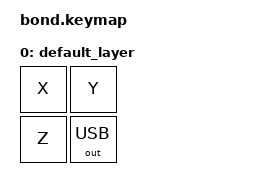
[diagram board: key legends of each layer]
/*
 * Copyright (c) 2022 The ZMK Contributors
 *
 * SPDX-License-Identifier: MIT
 */

#include <behaviors.dtsi>
#include <dt-bindings/zmk/keys.h>
#include <dt-bindings/zmk/bt.h>
#include <dt-bindings/zmk/outputs.h>

/ {
    keymap {
        compatible = "zmk,keymap";

        default_layer {
            bindings = <
                &kp X   &kp Y
                &kp Z   &out OUT_USB
            >;
        };
    };
};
